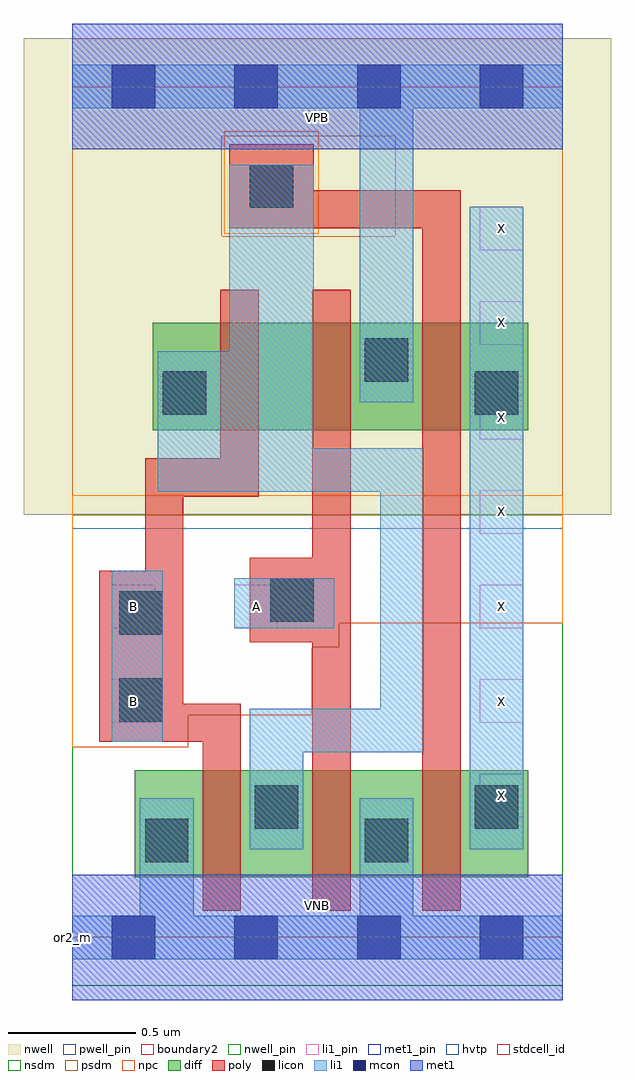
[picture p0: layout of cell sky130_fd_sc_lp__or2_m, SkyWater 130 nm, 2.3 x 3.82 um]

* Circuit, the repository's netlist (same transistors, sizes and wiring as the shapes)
* Copyright 2020 The SkyWater PDK Authors
*
* Licensed under the Apache License, Version 2.0 (the "License");
* you may not use this file except in compliance with the License.
* You may obtain a copy of the License at
*
*     https://www.apache.org/licenses/LICENSE-2.0
*
* Unless required by applicable law or agreed to in writing, software
* distributed under the License is distributed on an "AS IS" BASIS,
* WITHOUT WARRANTIES OR CONDITIONS OF ANY KIND, either express or implied.
* See the License for the specific language governing permissions and
* limitations under the License.
*
* SPDX-License-Identifier: Apache-2.0

.SUBCKT sky130_fd_sc_lp__or2_m A B VGND VNB VPB VPWR X
*.PININFO A:I B:I VGND:I VNB:I VPB:I VPWR:I X:O
MMP0 VPWR A sndPA VPB sky130_fd_pr__pfet_01v8_hvt m=1 w=0.42U l=0.15U mult=1 sa=0.265
+ sb=0.265 sd=0.28 area=0.063 perim=1.14
MMP1 sndPA B y VPB sky130_fd_pr__pfet_01v8_hvt m=1 w=0.42U l=0.15U mult=1 sa=0.265
+ sb=0.265 sd=0.28 area=0.063 perim=1.14
MMIP2 X y VPWR VPB sky130_fd_pr__pfet_01v8_hvt m=1 w=0.42U l=0.15U mult=1 sa=0.265
+ sb=0.265 sd=0.28 area=0.063 perim=1.14
MMN0 y A VGND VNB sky130_fd_pr__nfet_01v8 m=1 w=0.42U l=0.15U mult=1 sa=0.265 sb=0.265
+ sd=0.28 area=0.063 perim=1.14
MMN1 y B VGND VNB sky130_fd_pr__nfet_01v8 m=1 w=0.42U l=0.15U mult=1 sa=0.265 sb=0.265
+ sd=0.28 area=0.063 perim=1.14
MMIN2 X y VGND VNB sky130_fd_pr__nfet_01v8 m=1 w=0.42U l=0.15U mult=1 sa=0.265
+ sb=0.265 sd=0.28 area=0.063 perim=1.14
.ENDS sky130_fd_sc_lp__or2_m

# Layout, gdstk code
import gdstk
lib = gdstk.Library(unit=1e-6, precision=1e-09)
def R(c, l, rs):  # rectangles x0, y0, x1, y1
    for r in rs: c.add(gdstk.rectangle(r[:2], r[2:], *l))
def A(c, l, x, y, w, h, nx, ny, dx, dy):  # array of equal rectangles
    R(c, l, [(x+i*dx, y+j*dy, x+i*dx+w, y+j*dy+h) for i in range(nx) for j in range(ny)])
def P(c, l, *ps):  # polygons
    for p in ps: c.add(gdstk.Polygon(p, *l))
nwell_pin = (64, 16)
nwell = (64, 20)
diff = (65, 20)
poly = (66, 20)
licon = (66, 44)
li1_pin = (67, 16)
li1 = (67, 20)
mcon = (67, 44)
met1_pin = (68, 16)
met1 = (68, 20)
hvtp = (78, 44)
stdcell_id = (81, 4)
nsdm = (93, 44)
psdm = (94, 20)
npc = (95, 20)
pwell_pin = (122, 16)
boundary2 = (236, 0)

sky130_fd_sc_lp__or2_m = lib.new_cell('sky130_fd_sc_lp__or2_m')
R(sky130_fd_sc_lp__or2_m, nwell_pin, [(0,3.085,1.92,3.33)])
R(sky130_fd_sc_lp__or2_m, nwell, [(-0.19,1.655,2.11,3.52)])
R(sky130_fd_sc_lp__or2_m, diff, [(0.245,0.235,1.785,0.655), (0.315,1.985,1.785,2.405)])
P(sky130_fd_sc_lp__or2_m, poly, [(0.73,2.535),(0.58,2.535),(0.58,1.875),(0.285,1.875),(0.285,1.435),(0.105,1.435),(0.105,0.765),(0.51,0.765),(0.51,0.105),(0.66,0.105),(0.66,0.915),(0.435,0.915),(0.435,1.725),(0.73,1.725)],
  [(1.09,2.535),(0.94,2.535),(0.94,1.485),(0.695,1.485),(0.695,1.155),(0.94,1.155),(0.94,0.105),(1.09,0.105)],
  [(1.52,2.925),(0.945,2.925),(0.945,3.105),(0.615,3.105),(0.615,2.775),(1.37,2.775),(1.37,0.105),(1.52,0.105)])
R(sky130_fd_sc_lp__or2_m, licon, [(0.285,0.295,0.455,0.465), (1.145,0.295,1.315,0.465), (0.715,0.425,0.885,0.595), (1.575,0.425,1.745,0.595), (0.185,0.845,0.355,1.015), (0.185,1.185,0.355,1.355), (0.775,1.235,0.945,1.405), (0.355,2.045,0.525,2.215), (1.575,2.045,1.745,2.215), (1.145,2.175,1.315,2.345), (0.695,2.855,0.865,3.025)])
A(sky130_fd_sc_lp__or2_m, li1_pin, 1.595, 0.47, 0.17, 0.17, 1, 7, 0, 0.37)
R(sky130_fd_sc_lp__or2_m, li1_pin, [(0.155,0.84,0.325,1.01), (0.155,1.21,0.325,1.38), (0.635,1.21,0.805,1.38)])
R(sky130_fd_sc_lp__or2_m, li1, [(1.555,0.345,1.765,2.86), (0.155,0.765,0.355,1.435), (0.635,1.21,1.025,1.405)])
P(sky130_fd_sc_lp__or2_m, li1, [(1.125,2.095),(1.125,3.245),(0,3.245),(0,3.415),(1.92,3.415),(1.92,3.245),(1.335,3.245),(1.335,2.095)],
  [(0.265,0.085),(0.265,0.545),(0.475,0.545),(0.475,0.085),(1.125,0.085),(1.125,0.545),(1.335,0.545),(1.335,0.085),(1.92,0.085),(1.92,-0.085),(0,-0.085),(0,0.085)],
  [(0.615,2.295),(0.615,3.025),(0.945,3.025),(0.945,1.915),(1.375,1.915),(1.375,0.725),(0.905,0.725),(0.905,0.345),(0.695,0.345),(0.695,0.895),(1.205,0.895),(1.205,1.745),(0.335,1.745),(0.335,2.295)])
A(sky130_fd_sc_lp__or2_m, mcon, 0.155, -0.085, 0.17, 0.17, 4, 2, 0.48, 3.33)
R(sky130_fd_sc_lp__or2_m, met1_pin, [(0,0,1.92,0.245), (0,3.085,1.92,3.33)])
R(sky130_fd_sc_lp__or2_m, met1, [(0,-0.245,1.92,0.245), (0,3.085,1.92,3.575)])
R(sky130_fd_sc_lp__or2_m, hvtp, [(0,1.6,1.92,3.33)])
R(sky130_fd_sc_lp__or2_m, stdcell_id, [(0,0,1.92,3.33)])
R(sky130_fd_sc_lp__or2_m, nsdm, [(0,-0.19,1.92,1.655)])
P(sky130_fd_sc_lp__or2_m, psdm, [(1.92,3.52),(1.265,3.52),(1.265,2.745),(0.585,2.745),(0.585,3.135),(1.265,3.135),(1.265,3.52),(0,3.52),(0,1.655),(1.92,1.655)])
R(sky130_fd_sc_lp__or2_m, npc, [(0.595,2.755,0.965,3.155)])
P(sky130_fd_sc_lp__or2_m, npc, [(1.92,1.73),(0,1.73),(0,0.745),(0.455,0.745),(0.455,0.87),(0.94,0.87),(0.94,1.135),(1.045,1.135),(1.045,1.23),(1.92,1.23)])
R(sky130_fd_sc_lp__or2_m, pwell_pin, [(0,0,1.92,0.245)])
R(sky130_fd_sc_lp__or2_m, boundary2, [(0,0,1.92,3.33)])
sky130_fd_sc_lp__or2_m.add(gdstk.Label('VNB', (0.96,0.123), layer=64, texttype=59))
sky130_fd_sc_lp__or2_m.add(gdstk.Label('VPB', (0.96,3.208), layer=64, texttype=5))
sky130_fd_sc_lp__or2_m.add(gdstk.Label('or2_m', (0,0), layer=83, texttype=44))
sky130_fd_sc_lp__or2_m.add(gdstk.Label('VPWR', (0.96,3.208), layer=68, texttype=5))
sky130_fd_sc_lp__or2_m.add(gdstk.Label('VGND', (0.96,0.123), layer=68, texttype=5))
sky130_fd_sc_lp__or2_m.add(gdstk.Label('A', (0.72,1.295), layer=67, texttype=5))
sky130_fd_sc_lp__or2_m.add(gdstk.Label('B', (0.24,0.925), layer=67, texttype=5))
sky130_fd_sc_lp__or2_m.add(gdstk.Label('B', (0.24,1.295), layer=67, texttype=5))
sky130_fd_sc_lp__or2_m.add(gdstk.Label('X', (1.68,0.555), layer=67, texttype=5))
sky130_fd_sc_lp__or2_m.add(gdstk.Label('X', (1.68,0.925), layer=67, texttype=5))
sky130_fd_sc_lp__or2_m.add(gdstk.Label('X', (1.68,1.295), layer=67, texttype=5))
sky130_fd_sc_lp__or2_m.add(gdstk.Label('X', (1.68,1.665), layer=67, texttype=5))
sky130_fd_sc_lp__or2_m.add(gdstk.Label('X', (1.68,2.035), layer=67, texttype=5))
sky130_fd_sc_lp__or2_m.add(gdstk.Label('X', (1.68,2.405), layer=67, texttype=5))
sky130_fd_sc_lp__or2_m.add(gdstk.Label('X', (1.68,2.775), layer=67, texttype=5))

lib.write_gds('sky130_fd_sc_lp__or2_m.gds')
